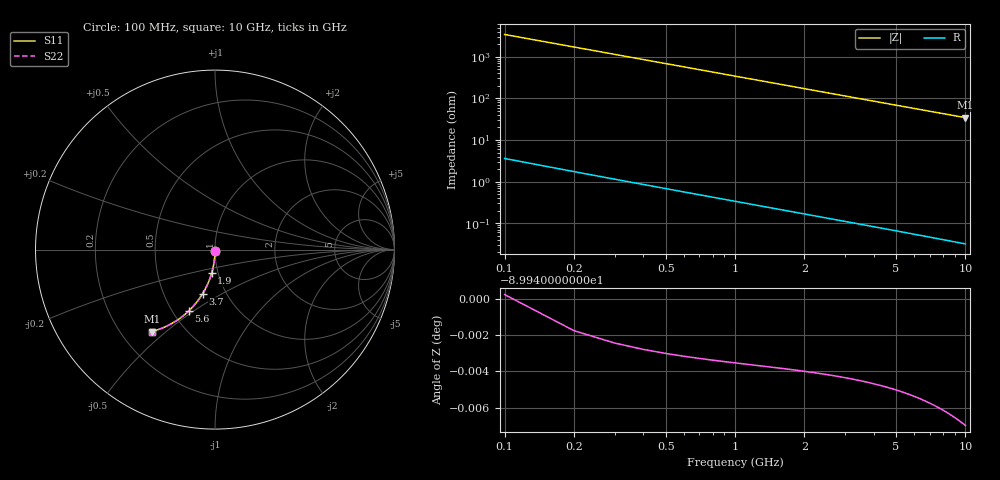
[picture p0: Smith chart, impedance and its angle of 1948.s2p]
# Hz S RI R 50.00
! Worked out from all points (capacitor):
!   100 points, 100 MHz to 10 GHz, reference 50 ohm
!   read as one part in shunt: C = 465 fF near 100 MHz
!   lowest |Z| = 34.4 ohm at 10 GHz (marker M1)
!   S11 on the Smith chart (normalised r, x): 100 MHz: 1.00, -0.01; 1.9 GHz: 0.93, -0.25; 3.7 GHz: 0.78, -0.41; 5.6 GHz: 0.61, -0.48; 10 GHz: 0.33, -0.45
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1e8  2.47e-05 -0.00711  0.9999 -0.00751  0.9999 -0.00751  2.47e-05 -0.00711
2e8  -0.000142 -0.0142  0.9997 -0.015  0.9997 -0.015  -0.000142 -0.0142
3e8  -0.000416 -0.0213  0.9994 -0.0225  0.9994 -0.0225  -0.000416 -0.0213
4e8  -0.000796 -0.0284  0.999 -0.03  0.999 -0.03  -0.000796 -0.0284
5e8  -0.00128 -0.0355  0.9985 -0.0375  0.9985 -0.0375  -0.00128 -0.0355
6e8  -0.00187 -0.0426  0.9979 -0.045  0.9979 -0.045  -0.00187 -0.0426
8e8  -0.00338 -0.0567  0.9964 -0.0599  0.9964 -0.0599  -0.00338 -0.0567
9e8  -0.00428 -0.0637  0.9955 -0.0673  0.9955 -0.0673  -0.00428 -0.0637
1.1e9  -0.00641 -0.0777  0.9934 -0.0821  0.9934 -0.0821  -0.00641 -0.0777
1.4e9  -0.0104 -0.0985  0.9894 -0.1041  0.9894 -0.1041  -0.0104 -0.0985
1.8e9  -0.0171 -0.1257  0.9827 -0.133  0.9827 -0.133  -0.0171 -0.1257
1.9e9  -0.019 -0.1324  0.9808 -0.1401  0.9808 -0.1401  -0.019 -0.1324
2.2e9  -0.0253 -0.1524  0.9745 -0.1613  0.9745 -0.1613  -0.0253 -0.1524
2.6e9  -0.035 -0.1783  0.9648 -0.1888  0.9648 -0.1888  -0.035 -0.1783
3.4e9  -0.0584 -0.2274  0.9413 -0.2411  0.9413 -0.2411  -0.0584 -0.2274
3.7e9  -0.0684 -0.2448  0.9313 -0.2597  0.9313 -0.2597  -0.0684 -0.2448
4.4e9  -0.0942 -0.2829  0.9055 -0.3007  0.9055 -0.3007  -0.0942 -0.2829
5.1e9  -0.1227 -0.3174  0.8769 -0.3381  0.8769 -0.3381  -0.1227 -0.3174
5.6e9  -0.1443 -0.3398  0.8552 -0.3625  0.8552 -0.3625  -0.1443 -0.3398
6.7e9  -0.1948 -0.3821  0.8047 -0.4094  0.8047 -0.4094  -0.1948 -0.3821
8.4e9  -0.2761 -0.4296  0.7231 -0.4639  0.7231 -0.4639  -0.2761 -0.4296
1e10  -0.3517 -0.4567  0.6472 -0.4977  0.6472 -0.4977  -0.3517 -0.4567
